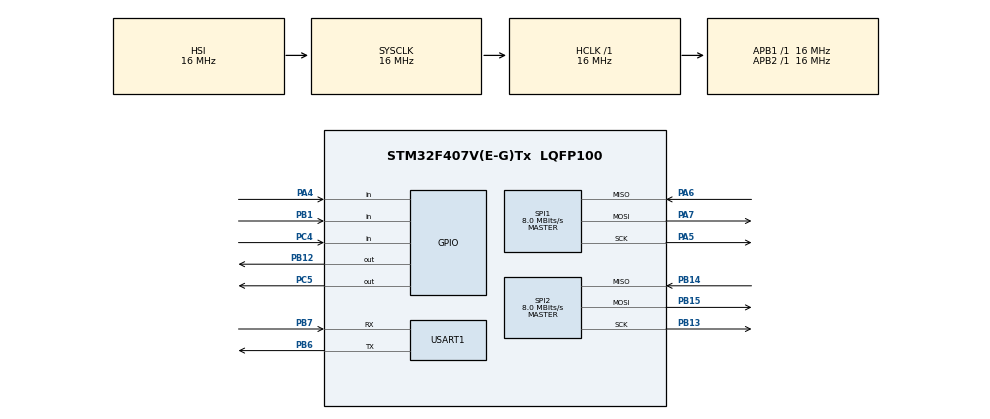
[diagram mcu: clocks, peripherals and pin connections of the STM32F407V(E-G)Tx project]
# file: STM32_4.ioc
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FREERTOS.Tasks01=defaultTask,0,128,StartDefaultTask,Default,NULL,Dynamic,NULL,NULL;CC1101_M,-2,128,StartTask_CC1101_M,Default,NULL,Dynamic,NULL,NULL;CC1101_S,-2,128,StartTask_CC1101_S,Default,NULL,Dynamic,NULL,NULL
Mcu.Family=STM32F4
Mcu.Name=STM32F407V(E-G)Tx
Mcu.Package=LQFP100
NVIC.PriorityGroup=NVIC_PRIORITYGROUP_4
NVIC.TIM6_DAC_IRQn=true\:0\:0\:false\:false\:true\:false\:false\:true
NVIC.TimeBase=TIM6_DAC_IRQn
NVIC.TimeBaseIP=TIM6
PA4.Signal=GPIO_Input
PA5.Mode=Full_Duplex_Master
PA5.Signal=SPI1_SCK
PA6.Mode=Full_Duplex_Master
PA6.Signal=SPI1_MISO
PA7.Mode=Full_Duplex_Master
PA7.Signal=SPI1_MOSI
PB1.Signal=GPIO_Input
PB12.Signal=GPIO_Output
PB13.Mode=Full_Duplex_Master
PB13.Signal=SPI2_SCK
PB14.Mode=Full_Duplex_Master
PB14.Signal=SPI2_MISO
PB15.Mode=Full_Duplex_Master
PB15.Signal=SPI2_MOSI
PB6.Mode=Asynchronous
PB6.Signal=USART1_TX
PB7.Mode=Asynchronous
PB7.Signal=USART1_RX
PC4.Signal=GPIO_Input
PC5.Signal=GPIO_Output
PH0-OSC_IN.Mode=HSE-External-Oscillator
PH0-OSC_IN.Signal=RCC_OSC_IN
PH1-OSC_OUT.Mode=HSE-External-Oscillator
PH1-OSC_OUT.Signal=RCC_OSC_OUT
ProjectManager.HeapSize=0x200
ProjectManager.StackSize=0x400
ProjectManager.TargetToolchain=SW4STM32
RCC.AHBFreq_Value=16000000
RCC.APB1Freq_Value=16000000
RCC.APB1TimFreq_Value=16000000
RCC.APB2Freq_Value=16000000
RCC.APB2TimFreq_Value=16000000
RCC.CortexFreq_Value=16000000
RCC.HCLKFreq_Value=16000000
RCC.HSE_VALUE=25000000
RCC.HSI_VALUE=16000000
RCC.LSE_VALUE=32768
RCC.SYSCLKFreq_VALUE=16000000
RCC.VCOOutputFreq_Value=192000000
SPI1.BaudRatePrescaler=SPI_BAUDRATEPRESCALER_2
SPI1.CRCCalculation=SPI_CRCCALCULATION_DISABLE
SPI1.CalculateBaudRate=8.0 MBits/s
SPI1.Direction=SPI_DIRECTION_2LINES
SPI1.Mode=SPI_MODE_MASTER
SPI1.VirtualType=VM_MASTER
SPI2.CalculateBaudRate=8.0 MBits/s
SPI2.Direction=SPI_DIRECTION_2LINES
SPI2.Mode=SPI_MODE_MASTER
SPI2.VirtualType=VM_MASTER
USART1.Parity=PARITY_EVEN
USART1.StopBits=STOPBITS_2
USART1.VirtualMode=VM_ASYNC
USART1.WordLength=WORDLENGTH_9B
VP_FREERTOS_VS_CMSIS_V1.Mode=CMSIS_V1
VP_SYS_VS_tim6.Mode=TIM6
board=custom

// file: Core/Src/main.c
/* USER CODE BEGIN Header */
/**
  ******************************************************************************
  * @file           : main.c
  * @brief          : Main program body
  ******************************************************************************
  * @attention
  *
  * <h2><center>&copy; Copyright (c) 2021 STMicroelectronics.
  * All rights reserved.</center></h2>
  *
  * This software component is licensed by ST under Ultimate Liberty license
  * SLA0044, the "License"; You may not use this file except in compliance with
  * the License. You may obtain a copy of the License at:
  *                             www.st.com/SLA0044
  *
  ******************************************************************************
  */
/* USER CODE END Header */
#include "main.h"
#include "cmsis_os.h"

SPI_HandleTypeDef hspi1;
SPI_HandleTypeDef hspi2;

UART_HandleTypeDef huart1;

osThreadId defaultTaskHandle;
osThreadId CC1101_MHandle;
osThreadId CC1101_SHandle;
/* USER CODE BEGIN PV */
CC1101_HandleTypeDef CC1101_M;
CC1101_HandleTypeDef CC1101_S;
/* USER CODE END PV */

void SystemClock_Config(void);

static void MX_GPIO_Init(void);

static void MX_SPI1_Init(void);

static void MX_SPI2_Init(void);

static void MX_USART1_UART_Init(void);

void StartDefaultTask(void const *argument);

void StartTask_CC1101_M(void const *argument);

void StartTask_CC1101_S(void const *argument);

int main(void) {

    /* MCU Configuration--------------------------------------------------------*/

    /* Reset of all peripherals, Initializes the Flash interface and the Systick. */
    HAL_Init();

    /* Configure the system clock */
    SystemClock_Config();

    /* USER CODE BEGIN SysInit */
    RetargetInit(&huart1);
    /* USER CODE END SysInit */

    /* Initialize all configured peripherals */
    MX_GPIO_Init();
    MX_SPI1_Init();
    MX_SPI2_Init();
    MX_USART1_UART_Init();
    /* USER CODE BEGIN 2 */
    printf("Hello World.\n");
    /* USER CODE END 2 */

    /* Create the thread(s) */
    /* definition and creation of defaultTask */
    osThreadDef(defaultTask, StartDefaultTask, osPriorityNormal, 0, 128);
    defaultTaskHandle = osThreadCreate(osThread(defaultTask), NULL);

    /* definition and creation of CC1101_M */
    osThreadDef(CC1101_M, StartTask_CC1101_M, osPriorityLow, 0, 128);
    CC1101_MHandle = osThreadCreate(osThread(CC1101_M), NULL);

    /* definition and creation of CC1101_S */
    osThreadDef(CC1101_S, StartTask_CC1101_S, osPriorityLow, 0, 128);
    CC1101_SHandle = osThreadCreate(osThread(CC1101_S), NULL);

    /* Start scheduler */
    osKernelStart();

    /* We should never get here as control is now taken by the scheduler */
    /* Infinite loop */
    while(1) {

    }
}

void SystemClock_Config(void) {
    RCC_OscInitTypeDef RCC_OscInitStruct = {0};
    RCC_ClkInitTypeDef RCC_ClkInitStruct = {0};

    /** Configure the main internal regulator output voltage
    */
    __HAL_RCC_PWR_CLK_ENABLE();
    __HAL_PWR_VOLTAGESCALING_CONFIG(PWR_REGULATOR_VOLTAGE_SCALE1);
    /** Initializes the RCC Oscillators according to the specified parameters
    * in the RCC_OscInitTypeDef structure.
    */
    RCC_OscInitStruct.OscillatorType = RCC_OSCILLATORTYPE_HSI;
    RCC_OscInitStruct.HSIState = RCC_HSI_ON;
    RCC_OscInitStruct.HSICalibrationValue = RCC_HSICALIBRATION_DEFAULT;
    RCC_OscInitStruct.PLL.PLLState = RCC_PLL_NONE;
    if(HAL_RCC_OscConfig(&RCC_OscInitStruct) != HAL_OK) {
        Error_Handler();
    }
    /** Initializes the CPU, AHB and APB buses clocks
    */
    RCC_ClkInitStruct.ClockType = RCC_CLOCKTYPE_HCLK | RCC_CLOCKTYPE_SYSCLK | RCC_CLOCKTYPE_PCLK1 | RCC_CLOCKTYPE_PCLK2;
    RCC_ClkInitStruct.SYSCLKSource = RCC_SYSCLKSOURCE_HSI;
    RCC_ClkInitStruct.AHBCLKDivider = RCC_SYSCLK_DIV1;
    RCC_ClkInitStruct.APB1CLKDivider = RCC_HCLK_DIV1;
    RCC_ClkInitStruct.APB2CLKDivider = RCC_HCLK_DIV1;

    if(HAL_RCC_ClockConfig(&RCC_ClkInitStruct, FLASH_LATENCY_0) != HAL_OK) {
        Error_Handler();
    }
}

static void MX_SPI1_Init(void) {

    /* SPI1 parameter configuration*/
    hspi1.Instance = SPI1;
    hspi1.Init.Mode = SPI_MODE_MASTER;
    hspi1.Init.Direction = SPI_DIRECTION_2LINES;
    hspi1.Init.DataSize = SPI_DATASIZE_8BIT;
    hspi1.Init.CLKPolarity = SPI_POLARITY_LOW;
    hspi1.Init.CLKPhase = SPI_PHASE_1EDGE;
    hspi1.Init.NSS = SPI_NSS_SOFT;
    hspi1.Init.BaudRatePrescaler = SPI_BAUDRATEPRESCALER_2;
    hspi1.Init.FirstBit = SPI_FIRSTBIT_MSB;
    hspi1.Init.TIMode = SPI_TIMODE_DISABLE;
    hspi1.Init.CRCCalculation = SPI_CRCCALCULATION_DISABLE;
    hspi1.Init.CRCPolynomial = 10;
    if(HAL_SPI_Init(&hspi1) != HAL_OK) {
        Error_Handler();
    }

}

static void MX_SPI2_Init(void) {

    /* SPI2 parameter configuration*/
    hspi2.Instance = SPI2;
    hspi2.Init.Mode = SPI_MODE_MASTER;
    hspi2.Init.Direction = SPI_DIRECTION_2LINES;
    hspi2.Init.DataSize = SPI_DATASIZE_8BIT;
    hspi2.Init.CLKPolarity = SPI_POLARITY_LOW;
    hspi2.Init.CLKPhase = SPI_PHASE_1EDGE;
    hspi2.Init.NSS = SPI_NSS_SOFT;
    hspi2.Init.BaudRatePrescaler = SPI_BAUDRATEPRESCALER_2;
    hspi2.Init.FirstBit = SPI_FIRSTBIT_MSB;
    hspi2.Init.TIMode = SPI_TIMODE_DISABLE;
    hspi2.Init.CRCCalculation = SPI_CRCCALCULATION_DISABLE;
    hspi2.Init.CRCPolynomial = 10;
    if(HAL_SPI_Init(&hspi2) != HAL_OK) {
        Error_Handler();
    }

}

static void MX_USART1_UART_Init(void) {

    huart1.Instance = USART1;
    huart1.Init.BaudRate = 115200;
    huart1.Init.WordLength = UART_WORDLENGTH_9B;
    huart1.Init.StopBits = UART_STOPBITS_2;
    huart1.Init.Parity = UART_PARITY_EVEN;
    huart1.Init.Mode = UART_MODE_TX_RX;
    huart1.Init.HwFlowCtl = UART_HWCONTROL_NONE;
    huart1.Init.OverSampling = UART_OVERSAMPLING_16;
    if(HAL_UART_Init(&huart1) != HAL_OK) {
        Error_Handler();
    }

}

static void MX_GPIO_Init(void) {
    GPIO_InitTypeDef GPIO_InitStruct = {0};

    /* GPIO Ports Clock Enable */
    __HAL_RCC_GPIOH_CLK_ENABLE();
    __HAL_RCC_GPIOA_CLK_ENABLE();
    __HAL_RCC_GPIOC_CLK_ENABLE();
    __HAL_RCC_GPIOB_CLK_ENABLE();

    /*Configure GPIO pin Output Level */
    HAL_GPIO_WritePin(GPIOC, GPIO_PIN_5, GPIO_PIN_RESET);

    /*Configure GPIO pin Output Level */
    HAL_GPIO_WritePin(GPIOB, GPIO_PIN_12, GPIO_PIN_RESET);

    /*Configure GPIO pin : PA4 */
    GPIO_InitStruct.Pin = GPIO_PIN_4;
    GPIO_InitStruct.Mode = GPIO_MODE_INPUT;
    GPIO_InitStruct.Pull = GPIO_NOPULL;
    HAL_GPIO_Init(GPIOA, &GPIO_InitStruct);

    /*Configure GPIO pin : PC4 */
    GPIO_InitStruct.Pin = GPIO_PIN_4;
    GPIO_InitStruct.Mode = GPIO_MODE_INPUT;
    GPIO_InitStruct.Pull = GPIO_NOPULL;
    HAL_GPIO_Init(GPIOC, &GPIO_InitStruct);

    /*Configure GPIO pin : PC5 */
    GPIO_InitStruct.Pin = GPIO_PIN_5;
    GPIO_InitStruct.Mode = GPIO_MODE_OUTPUT_PP;
    GPIO_InitStruct.Pull = GPIO_NOPULL;
    GPIO_InitStruct.Speed = GPIO_SPEED_FREQ_LOW;
    HAL_GPIO_Init(GPIOC, &GPIO_InitStruct);

    /*Configure GPIO pin : PB1 */
    GPIO_InitStruct.Pin = GPIO_PIN_1;
    GPIO_InitStruct.Mode = GPIO_MODE_INPUT;
    GPIO_InitStruct.Pull = GPIO_NOPULL;
    HAL_GPIO_Init(GPIOB, &GPIO_InitStruct);

    /*Configure GPIO pin : PB12 */
    GPIO_InitStruct.Pin = GPIO_PIN_12;
    GPIO_InitStruct.Mode = GPIO_MODE_OUTPUT_PP;
    GPIO_InitStruct.Pull = GPIO_NOPULL;
    GPIO_InitStruct.Speed = GPIO_SPEED_FREQ_LOW;
    HAL_GPIO_Init(GPIOB, &GPIO_InitStruct);

}

void StartDefaultTask(void const *argument) {
    /* USER CODE BEGIN 5 */
    /* Infinite loop */
    for(;;) {
        osDelay(1000);
    }
    /* USER CODE END 5 */
}

void StartTask_CC1101_M(void const *argument) {
    /* USER CODE BEGIN StartTask_CC1101_M */
    uint8_t dummy_cmd[PKT_SIZE] = { 0 };
    uint8_t frame_t[PKT_SIZE] = { 0 };
    uint8_t frame_r[PKT_SIZE] = { 0 };
    CC1101_M.spi_port = &hspi1;
    CC1101_M.CSN_port = GPIOC;
    CC1101_M.CSN_pin = GPIO_PIN_5;
    CC1101_M.GDO0_port = GPIOA;
    CC1101_M.GDO0_pin = GPIO_PIN_4;
    CC1101_Init(&CC1101_M);
    CC1101_Set_Mode(&CC1101_M, TX_MODE);
    printf("Master init finished.\n");
    Frame_Write(dummy_cmd, &CC1101_M);
    CC1101_Send(&CC1101_M);
    int rx_timeout_cnt = 0;
#define RX_TIMEOUT_LIMIT    10
    /* Infinite loop */
    for(;;) {
        while(!CC1101_Fetch(&CC1101_M)) {
            rx_timeout_cnt++;
            osDelay(250);
            if(rx_timeout_cnt >= RX_TIMEOUT_LIMIT) {
                Frame_Write(dummy_cmd, &CC1101_M);
                CC1101_Send(&CC1101_M);
                rx_timeout_cnt = 0;
            }
        }
        Frame_Read(frame_r, &CC1101_M);
        printf("Master new pkg received.\n");
        osDelay(250);
        Frame_Write(frame_t, &CC1101_M);
        CC1101_Send(&CC1101_M);
        osDelay(250);
    }
    /* USER CODE END StartTask_CC1101_M */
}

void StartTask_CC1101_S(void const *argument) {
    /* USER CODE BEGIN StartTask_CC1101_S */
    uint8_t frame_t[PKT_SIZE] = { 0 };
    uint8_t frame_r[PKT_SIZE] = { 0 };
    CC1101_S.spi_port = &hspi2;
    CC1101_S.CSN_port = GPIOB;
    CC1101_S.CSN_pin = GPIO_PIN_12;
    CC1101_S.GDO0_port = GPIOB;
    CC1101_S.GDO0_pin = GPIO_PIN_1;
    CC1101_Init(&CC1101_S);
    CC1101_Set_Mode(&CC1101_S, RX_MODE);
    //printf("Slave init finished.\n");
    /* Infinite loop */
    for(;;) {
        while(!CC1101_Fetch(&CC1101_S)) {
            uint8_t status = CC1101_Read_Status(&CC1101_S, CC1101_MARCSTATE);
            osDelay(250);
        }
        Frame_Read(frame_r, &CC1101_S);
        //printf("Slave new pkg received.\n");
        Frame_Write(frame_t, &CC1101_S);
        CC1101_Send(&CC1101_S);
        osDelay(250);
    }
    /* USER CODE END StartTask_CC1101_S */
}

void HAL_TIM_PeriodElapsedCallback(TIM_HandleTypeDef *htim) {
    if(htim->Instance == TIM6) {
        HAL_IncTick();
    }
}

void Error_Handler(void) {
    __disable_irq();
    while(1) {
    }
}

/************************ (C) COPYRIGHT STMicroelectronics *****END OF FILE****/
